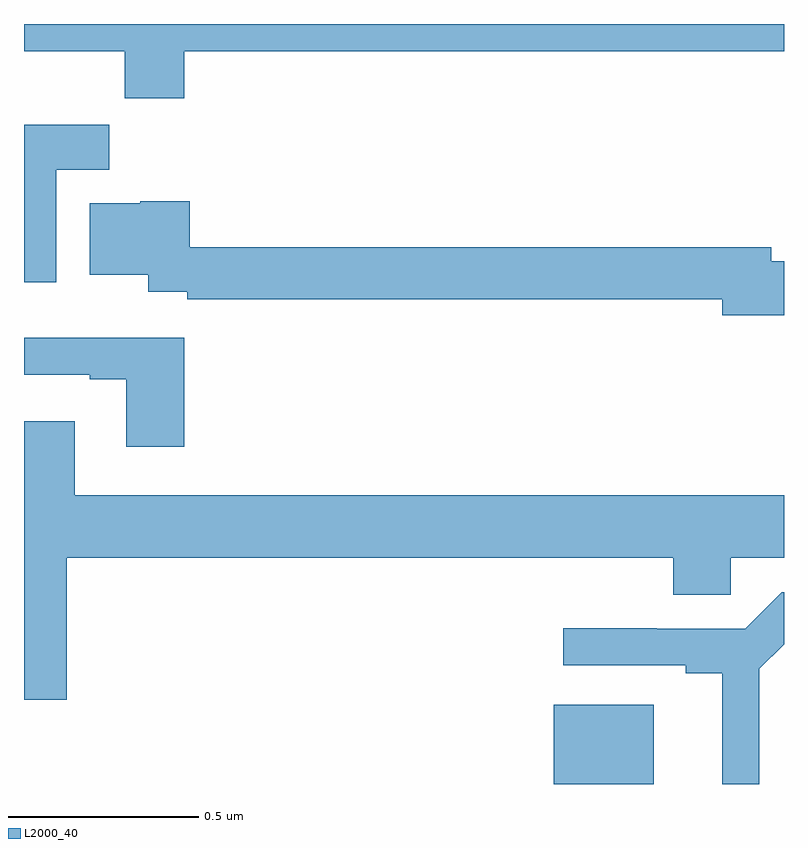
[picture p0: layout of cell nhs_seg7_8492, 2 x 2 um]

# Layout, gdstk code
import gdstk
lib = gdstk.Library(unit=1e-6, precision=1e-09)
def R(c, l, rs):  # rectangles x0, y0, x1, y1
    for r in rs: c.add(gdstk.rectangle(r[:2], r[2:], *l))
def P(c, l, *ps):  # polygons
    for p in ps: c.add(gdstk.Polygon(p, *l))
L2000_40 = (2000, 40)

nhs_seg7_8492 = lib.new_cell('nhs_seg7_8492')
R(nhs_seg7_8492, L2000_40, [(226.394,1020,226.657,1020.208)])
P(nhs_seg7_8492, L2000_40, [(225.422,1021.928),(227,1021.928),(227,1022),(225,1022),(225,1021.928),(225.265,1021.928),(225.265,1021.804),(225.422,1021.804)],
  [(225.085,1021.616),(225.224,1021.616),(225.224,1021.735),(225,1021.735),(225,1021.32),(225.085,1021.32)],
  [(227,1021.376),(226.966,1021.376),(226.966,1021.412),(225.436,1021.412),(225.436,1021.534),(225.306,1021.534),(225.306,1021.528),(225.173,1021.528),(225.173,1021.34),(225.327,1021.34),(225.327,1021.296),(225.43,1021.296),(225.43,1021.276),(226.838,1021.276),(226.838,1021.234),(227,1021.234)],
  [(225.422,1021.174),(225,1021.174),(225,1021.077),(225.173,1021.077),(225.173,1021.065),(225.269,1021.065),(225.269,1020.888),(225.422,1020.888)],
  [(225.112,1020.596),(226.709,1020.596),(226.709,1020.498),(226.86,1020.498),(226.86,1020.596),(227,1020.596),(227,1020.76),(225.133,1020.76),(225.133,1020.955),(225,1020.955),(225,1020.222),(225.112,1020.222)],
  [(226.935,1020.303),(227,1020.368),(227,1020.504),(226.994,1020.504),(226.898,1020.408),(226.665,1020.408),(226.665,1020.41),(226.419,1020.41),(226.419,1020.312),(226.742,1020.312),(226.742,1020.292),(226.838,1020.292),(226.838,1020),(226.935,1020)])

lib.write_gds('nhs_seg7_8492.gds')
